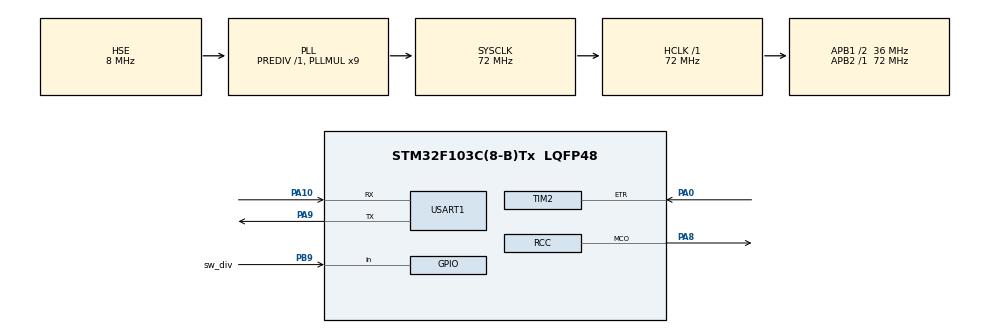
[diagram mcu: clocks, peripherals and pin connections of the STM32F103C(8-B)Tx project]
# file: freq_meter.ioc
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Mcu.Family=STM32F1
Mcu.Name=STM32F103C(8-B)Tx
Mcu.Package=LQFP48
NVIC.PriorityGroup=NVIC_PRIORITYGROUP_4
NVIC.TIM1_UP_IRQn=true\:0\:0\:false\:false\:true\:true\:true\:true
PA0-WKUP.Signal=S_TIM2_CH1_ETR
PA10.Mode=Asynchronous
PA10.Signal=USART1_RX
PA13.Mode=Serial_Wire
PA13.Signal=SYS_JTMS-SWDIO
PA14.Mode=Serial_Wire
PA14.Signal=SYS_JTCK-SWCLK
PA8.GPIO_Speed=GPIO_SPEED_FREQ_HIGH
PA8.Mode=Clock-out
PA8.Signal=RCC_MCO
PA9.Mode=Asynchronous
PA9.Signal=USART1_TX
PB9.GPIO_Label=sw_div
PB9.Signal=GPIO_Input
PD0-OSC_IN.Mode=HSE-External-Oscillator
PD0-OSC_IN.Signal=RCC_OSC_IN
PD1-OSC_OUT.Mode=HSE-External-Oscillator
PD1-OSC_OUT.Signal=RCC_OSC_OUT
ProjectManager.HeapSize=0x200
ProjectManager.StackSize=0x400
ProjectManager.TargetToolchain=STM32CubeIDE
RCC.AHBFreq_Value=72000000
RCC.APB1CLKDivider=RCC_HCLK_DIV2
RCC.APB1Freq_Value=36000000
RCC.APB1TimFreq_Value=72000000
RCC.APB2Freq_Value=72000000
RCC.APB2TimFreq_Value=72000000
RCC.HCLKFreq_Value=72000000
RCC.PLLMUL=RCC_PLL_MUL9
RCC.PLLSourceVirtual=RCC_PLLSOURCE_HSE
RCC.RCC_MCOSource=RCC_MCO1SOURCE_HSE
RCC.SYSCLKFreq_VALUE=72000000
RCC.SYSCLKSource=RCC_SYSCLKSOURCE_PLLCLK
RCC.USBFreq_Value=72000000
SH.S_TIM2_CH1_ETR.0=TIM2_ETR,ClockSourceETR_Mode2
TIM1.CounterMode=TIM_COUNTERMODE_DOWN
TIM1.Period=9999
TIM1.Prescaler=7199
TIM1.TIM_MasterOutputTrigger=TIM_TRGO_ENABLE
TIM1.TIM_MasterSlaveMode=TIM_MASTERSLAVEMODE_ENABLE
TIM2.ClockPrescaler=TIM_CLOCKPRESCALER_DIV1
TIM2.Period=65535
TIM2.TIM_MasterOutputTrigger=TIM_TRGO_UPDATE
TIM2.TIM_MasterSlaveMode=TIM_MASTERSLAVEMODE_DISABLE
TIM3.Period=65535
TIM3.Prescaler=0
TIM3.TIM_MasterOutputTrigger=TIM_TRGO_RESET
USART1.VirtualMode=VM_ASYNC
VP_TIM1_VS_ClockSourceINT.Mode=Internal
VP_TIM1_VS_OPM.Mode=OPM_bit
VP_TIM2_VS_ClockSourceITR.Mode=TriggerSource_ITR0
VP_TIM2_VS_ControllerModeGated.Mode=Gated Mode
VP_TIM3_VS_ClockSourceITR.Mode=TriggerSource_ITR1
VP_TIM3_VS_ControllerModeClock.Mode=Clock Mode
board=custom

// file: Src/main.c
/* USER CODE BEGIN Header */
/**
  ******************************************************************************
  * @file           : main.c
  * @brief          : Main program body
  ******************************************************************************
  * @attention
  *
  * <h2><center>&copy; Copyright (c) 2019 STMicroelectronics.
  * All rights reserved.</center></h2>
  *
  * This software component is licensed by ST under BSD 3-Clause license,
  * the "License"; You may not use this file except in compliance with the
  * License. You may obtain a copy of the License at:
  *                        opensource.org/licenses/BSD-3-Clause
  *
  ******************************************************************************
  */
/* USER CODE END Header */

#include "main.h"
#include <math.h>   //Для modf, modff, modfl

/* USER CODE BEGIN Includes */
#include "string.h"
/* USER CODE END Includes */

TIM_HandleTypeDef htim1;
TIM_HandleTypeDef htim2;
TIM_HandleTypeDef htim3;

UART_HandleTypeDef huart1;

/* USER CODE BEGIN PV */
TIM_ClockConfigTypeDef MY_sClockSourceConfig = {0};
/* USER CODE END PV */

void SystemClock_Config(void);
static void MX_GPIO_Init(void);
static void MX_USART1_UART_Init(void);
static void MX_TIM3_Init(void);
static void MX_TIM1_Init(void);
static void MX_TIM2_Init(void);

/* USER CODE BEGIN 0 */
void HAL_TIM_PeriodElapsedCallback(TIM_HandleTypeDef *htim)
{
	if(htim == &htim1)
	{
		/*uint16_t count_main = __HAL_TIM_GET_COUNTER(&htim2);
		uint16_t count_secondary = __HAL_TIM_GET_COUNTER(&htim3);
		uint16_t arr = __HAL_TIM_GET_AUTORELOAD(&htim2);
		uint32_t freq = count_main + (count_secondary * arr) + count_secondary;*/

		/*uint16_t count_main = __HAL_TIM_GET_COUNTER(&htim2);
		uint16_t count_secondary = __HAL_TIM_GET_COUNTER(&htim3);
		uint16_t arr = __HAL_TIM_GET_AUTORELOAD(&htim2);
		uint32_t freq = count_main + (count_secondary * arr) + count_secondary;*/

		uint32_t freq = TIM2->CNT + (TIM3->CNT << 16); // это вариант на регистрах, предыдущие четыре строчки можно закомментить

		float freq_test = ((float)freq*10000000000.0);

		///////////////////////// вывод инфы ///////////////////////////////
		char str[96] = {0,};

		/*switch(MY_sClockSourceConfig.ClockPrescaler)
		{
			case TIM_CLOCKPRESCALER_DIV1:
				snprintf(str, 96, "ClockPrescaler: DIV NOT\n");
				HAL_UART_Transmit(&huart1, (uint8_t*)str, strlen(str), 1000);
			break;

			case TIM_CLOCKPRESCALER_DIV2:
				snprintf(str, 96, "ClockPrescaler: DIV 2\n");
				HAL_UART_Transmit(&huart1, (uint8_t*)str, strlen(str), 1000);
			break;

			case TIM_CLOCKPRESCALER_DIV4:
				snprintf(str, 96, "ClockPrescaler: DIV 4\n");
				HAL_UART_Transmit(&huart1, (uint8_t*)str, strlen(str), 1000);
			break;

			case TIM_CLOCKPRESCALER_DIV8:
				snprintf(str, 96, "ClockPrescaler: DIV 8\n");
				HAL_UART_Transmit(&huart1, (uint8_t*)str, strlen(str), 1000);
			break;
		}*/

		//snprintf(str, 96, "FREQUENCY: %.3f MHz | %.3f KHz | %lu Hz\n-----------------\n", (float)freq / 1000000.0, (float)freq / 1000.0, freq);
		//snprintf(str, 96, "FREQUENCY: %11.3f Hz\n-----------------\n", (float)freq);
		snprintf(str, 96, "FREQUENCY: %f Hz\n-----------------\n", (float)freq_test/10000000000.0);
		HAL_UART_Transmit(&huart1, (uint8_t*)str, strlen(str), 1000);

		//snprintf(str, 96, "Count_main: %d | Count_secondary: %d\n-----------------\n", count_main, count_secondary);
		//HAL_UART_Transmit(&huart1, (uint8_t*)str, strlen(str), 1000);

		//////////////// обнуляем счётчики и рестартуем таймер /////////////////
		__HAL_TIM_SET_COUNTER(&htim2, 0x0000);
		__HAL_TIM_SET_COUNTER(&htim3, 0x0000);
		HAL_TIM_Base_Start_IT(&htim1);
	}
}

void SetClockPrescaler(uint32_t clok_presc)
{
	HAL_TIM_Base_Stop(&htim2);
	HAL_TIM_Base_DeInit(&htim2);

	TIM_SlaveConfigTypeDef sSlaveConfig = {0};
	TIM_MasterConfigTypeDef sMasterConfig = {0};

	htim2.Instance = TIM2;
	htim2.Init.Prescaler = 0;
	htim2.Init.CounterMode = TIM_COUNTERMODE_UP;
	htim2.Init.Period = 65535;
	htim2.Init.ClockDivision = TIM_CLOCKDIVISION_DIV1;
	htim2.Init.AutoReloadPreload = TIM_AUTORELOAD_PRELOAD_DISABLE;
	if (HAL_TIM_Base_Init(&htim2) != HAL_OK)
	{
	Error_Handler();
	}

	MY_sClockSourceConfig.ClockSource = TIM_CLOCKSOURCE_ETRMODE2;
	MY_sClockSourceConfig.ClockPolarity = TIM_CLOCKPOLARITY_NONINVERTED;
	MY_sClockSourceConfig.ClockPrescaler = clok_presc;
	MY_sClockSourceConfig.ClockFilter = 0;
	if (HAL_TIM_ConfigClockSource(&htim2, &MY_sClockSourceConfig) != HAL_OK)
	{
	Error_Handler();
	}

	sSlaveConfig.SlaveMode = TIM_SLAVEMODE_GATED;
	sSlaveConfig.InputTrigger = TIM_TS_ITR0;
	if (HAL_TIM_SlaveConfigSynchronization(&htim2, &sSlaveConfig) != HAL_OK)
	{
	Error_Handler();
	}

	sMasterConfig.MasterOutputTrigger = TIM_TRGO_UPDATE;
	sMasterConfig.MasterSlaveMode = TIM_MASTERSLAVEMODE_DISABLE;
	if (HAL_TIMEx_MasterConfigSynchronization(&htim2, &sMasterConfig) != HAL_OK)
	{
	Error_Handler();
	}

	HAL_TIM_Base_Start(&htim2);
}
///////////////////////////////////
/* USER CODE END 0 */

int main(void)
{

  /* MCU Configuration--------------------------------------------------------*/

  /* Reset of all peripherals, Initializes the Flash interface and the Systick. */
  HAL_Init();

  /* Configure the system clock */
  SystemClock_Config();

  /* Initialize all configured peripherals */
  MX_GPIO_Init();
  MX_USART1_UART_Init();
  MX_TIM3_Init();
  MX_TIM1_Init();
  MX_TIM2_Init();
  /* USER CODE BEGIN 2 */

  HAL_TIM_Base_Start_IT(&htim1);
  HAL_TIM_Base_Start(&htim2);
  HAL_TIM_Base_Start(&htim3);

  /* USER CODE END 2 */

  /* Infinite loop */
  /* USER CODE BEGIN WHILE */
  while (1)
  {
	/*static uint8_t div = 1;

	/////// переключение предделителя пин PB9, подтянуть к минусу, подавать плюс ///////
	if(HAL_GPIO_ReadPin(sw_div_GPIO_Port, sw_div_Pin) == GPIO_PIN_SET)
	{
		div++;
		if(div > 4) div = 1;

		switch(div)
		{
			case 1:
				SetClockPrescaler(TIM_CLOCKPRESCALER_DIV1);
			break;

			case 2:
				SetClockPrescaler(TIM_CLOCKPRESCALER_DIV2);
			break;

			case 3:
				SetClockPrescaler(TIM_CLOCKPRESCALER_DIV4);
			break;

			case 4:
				SetClockPrescaler(TIM_CLOCKPRESCALER_DIV8);
			break;

			default:
			break;
		}

		HAL_Delay(300);
	}
	*/

    /* USER CODE END WHILE */

  }
}

void SystemClock_Config(void)
{
  RCC_OscInitTypeDef RCC_OscInitStruct = {0};
  RCC_ClkInitTypeDef RCC_ClkInitStruct = {0};

  /** Initializes the CPU, AHB and APB busses clocks
  */
  RCC_OscInitStruct.OscillatorType = RCC_OSCILLATORTYPE_HSE;
  RCC_OscInitStruct.HSEState = RCC_HSE_ON;
  RCC_OscInitStruct.HSEPredivValue = RCC_HSE_PREDIV_DIV1;
  RCC_OscInitStruct.HSIState = RCC_HSI_ON;
  RCC_OscInitStruct.PLL.PLLState = RCC_PLL_ON;
  RCC_OscInitStruct.PLL.PLLSource = RCC_PLLSOURCE_HSE;
  RCC_OscInitStruct.PLL.PLLMUL = RCC_PLL_MUL9;
  if (HAL_RCC_OscConfig(&RCC_OscInitStruct) != HAL_OK)
  {
    Error_Handler();
  }
  /** Initializes the CPU, AHB and APB busses clocks
  */
  RCC_ClkInitStruct.ClockType = RCC_CLOCKTYPE_HCLK|RCC_CLOCKTYPE_SYSCLK
                              |RCC_CLOCKTYPE_PCLK1|RCC_CLOCKTYPE_PCLK2;
  RCC_ClkInitStruct.SYSCLKSource = RCC_SYSCLKSOURCE_PLLCLK;
  RCC_ClkInitStruct.AHBCLKDivider = RCC_SYSCLK_DIV1;
  RCC_ClkInitStruct.APB1CLKDivider = RCC_HCLK_DIV2;
  RCC_ClkInitStruct.APB2CLKDivider = RCC_HCLK_DIV1;

  if (HAL_RCC_ClockConfig(&RCC_ClkInitStruct, FLASH_LATENCY_2) != HAL_OK)
  {
    Error_Handler();
  }
  HAL_RCC_MCOConfig(RCC_MCO, RCC_MCO1SOURCE_HSE, RCC_MCODIV_1);
}

static void MX_TIM1_Init(void)
{

  TIM_ClockConfigTypeDef sClockSourceConfig = {0};
  TIM_MasterConfigTypeDef sMasterConfig = {0};

  htim1.Instance = TIM1;
  htim1.Init.Prescaler = 7199;
  htim1.Init.CounterMode = TIM_COUNTERMODE_DOWN;
  htim1.Init.Period = 9999;
  htim1.Init.ClockDivision = TIM_CLOCKDIVISION_DIV1;
  htim1.Init.RepetitionCounter = 0;
  htim1.Init.AutoReloadPreload = TIM_AUTORELOAD_PRELOAD_DISABLE;
  if (HAL_TIM_Base_Init(&htim1) != HAL_OK)
  {
    Error_Handler();
  }
  sClockSourceConfig.ClockSource = TIM_CLOCKSOURCE_INTERNAL;
  if (HAL_TIM_ConfigClockSource(&htim1, &sClockSourceConfig) != HAL_OK)
  {
    Error_Handler();
  }
  if (HAL_TIM_OnePulse_Init(&htim1, TIM_OPMODE_SINGLE) != HAL_OK)
  {
    Error_Handler();
  }
  sMasterConfig.MasterOutputTrigger = TIM_TRGO_ENABLE;
  sMasterConfig.MasterSlaveMode = TIM_MASTERSLAVEMODE_ENABLE;
  if (HAL_TIMEx_MasterConfigSynchronization(&htim1, &sMasterConfig) != HAL_OK)
  {
    Error_Handler();
  }

}

static void MX_TIM2_Init(void)
{

  TIM_ClockConfigTypeDef sClockSourceConfig = {0};
  TIM_SlaveConfigTypeDef sSlaveConfig = {0};
  TIM_MasterConfigTypeDef sMasterConfig = {0};

  htim2.Instance = TIM2;
  htim2.Init.Prescaler = 0;
  htim2.Init.CounterMode = TIM_COUNTERMODE_UP;
  htim2.Init.Period = 65535;
  htim2.Init.ClockDivision = TIM_CLOCKDIVISION_DIV1;
  htim2.Init.AutoReloadPreload = TIM_AUTORELOAD_PRELOAD_DISABLE;
  if (HAL_TIM_Base_Init(&htim2) != HAL_OK)
  {
    Error_Handler();
  }
  sClockSourceConfig.ClockSource = TIM_CLOCKSOURCE_ETRMODE2;
  sClockSourceConfig.ClockPolarity = TIM_CLOCKPOLARITY_NONINVERTED;
  sClockSourceConfig.ClockPrescaler = TIM_CLOCKPRESCALER_DIV1;
  sClockSourceConfig.ClockFilter = 0;
  if (HAL_TIM_ConfigClockSource(&htim2, &sClockSourceConfig) != HAL_OK)
  {
    Error_Handler();
  }
  sSlaveConfig.SlaveMode = TIM_SLAVEMODE_GATED;
  sSlaveConfig.InputTrigger = TIM_TS_ITR0;
  if (HAL_TIM_SlaveConfigSynchronization(&htim2, &sSlaveConfig) != HAL_OK)
  {
    Error_Handler();
  }
  sMasterConfig.MasterOutputTrigger = TIM_TRGO_UPDATE;
  sMasterConfig.MasterSlaveMode = TIM_MASTERSLAVEMODE_DISABLE;
  if (HAL_TIMEx_MasterConfigSynchronization(&htim2, &sMasterConfig) != HAL_OK)
  {
    Error_Handler();
  }
  /* USER CODE BEGIN TIM2_Init 2 */
  MY_sClockSourceConfig = sClockSourceConfig;
  /* USER CODE END TIM2_Init 2 */

}

static void MX_TIM3_Init(void)
{

  TIM_SlaveConfigTypeDef sSlaveConfig = {0};
  TIM_MasterConfigTypeDef sMasterConfig = {0};

  htim3.Instance = TIM3;
  htim3.Init.Prescaler = 0;
  htim3.Init.CounterMode = TIM_COUNTERMODE_UP;
  htim3.Init.Period = 65535;
  htim3.Init.ClockDivision = TIM_CLOCKDIVISION_DIV1;
  htim3.Init.AutoReloadPreload = TIM_AUTORELOAD_PRELOAD_DISABLE;
  if (HAL_TIM_Base_Init(&htim3) != HAL_OK)
  {
    Error_Handler();
  }
  sSlaveConfig.SlaveMode = TIM_SLAVEMODE_EXTERNAL1;
  sSlaveConfig.InputTrigger = TIM_TS_ITR1;
  if (HAL_TIM_SlaveConfigSynchronization(&htim3, &sSlaveConfig) != HAL_OK)
  {
    Error_Handler();
  }
  sMasterConfig.MasterOutputTrigger = TIM_TRGO_RESET;
  sMasterConfig.MasterSlaveMode = TIM_MASTERSLAVEMODE_DISABLE;
  if (HAL_TIMEx_MasterConfigSynchronization(&htim3, &sMasterConfig) != HAL_OK)
  {
    Error_Handler();
  }

}

static void MX_USART1_UART_Init(void)
{

  huart1.Instance = USART1;
  huart1.Init.BaudRate = 115200;
  huart1.Init.WordLength = UART_WORDLENGTH_8B;
  huart1.Init.StopBits = UART_STOPBITS_1;
  huart1.Init.Parity = UART_PARITY_NONE;
  huart1.Init.Mode = UART_MODE_TX_RX;
  huart1.Init.HwFlowCtl = UART_HWCONTROL_NONE;
  huart1.Init.OverSampling = UART_OVERSAMPLING_16;
  if (HAL_UART_Init(&huart1) != HAL_OK)
  {
    Error_Handler();
  }

}

static void MX_GPIO_Init(void)
{
  GPIO_InitTypeDef GPIO_InitStruct = {0};

  /* GPIO Ports Clock Enable */
  __HAL_RCC_GPIOD_CLK_ENABLE();
  __HAL_RCC_GPIOA_CLK_ENABLE();
  __HAL_RCC_GPIOB_CLK_ENABLE();

  /*Configure GPIO pin : PA8 */
  GPIO_InitStruct.Pin = GPIO_PIN_8;
  GPIO_InitStruct.Mode = GPIO_MODE_AF_PP;
  GPIO_InitStruct.Speed = GPIO_SPEED_FREQ_HIGH;
  HAL_GPIO_Init(GPIOA, &GPIO_InitStruct);

  /*Configure GPIO pin : sw_div_Pin */
  GPIO_InitStruct.Pin = sw_div_Pin;
  GPIO_InitStruct.Mode = GPIO_MODE_INPUT;
  GPIO_InitStruct.Pull = GPIO_NOPULL;
  HAL_GPIO_Init(sw_div_GPIO_Port, &GPIO_InitStruct);

}

void Error_Handler(void)
{
  /* USER CODE BEGIN Error_Handler_Debug */
  /* User can add his own implementation to report the HAL error return state */
	HAL_UART_Transmit(&huart1, (uint8_t*)"ERROR1\n", strlen("ERROR\n"), 1000);
  /* USER CODE END Error_Handler_Debug */
}

#ifdef  USE_FULL_ASSERT
/**
  * @brief  Reports the name of the source file and the source line number
  *         where the assert_param error has occurred.
  * @param  file: pointer to the source file name
  * @param  line: assert_param error line source number
  * @retval None
  */
void assert_failed(uint8_t *file, uint32_t line)
{
  /* USER CODE BEGIN 6 */
	HAL_UART_Transmit(&huart1, (uint8_t*)"ERROR\n", strlen("ERROR\n"), 1000);
  /* USER CODE END 6 */
}
#endif /* USE_FULL_ASSERT */

/************************ (C) COPYRIGHT STMicroelectronics *****END OF FILE****/
